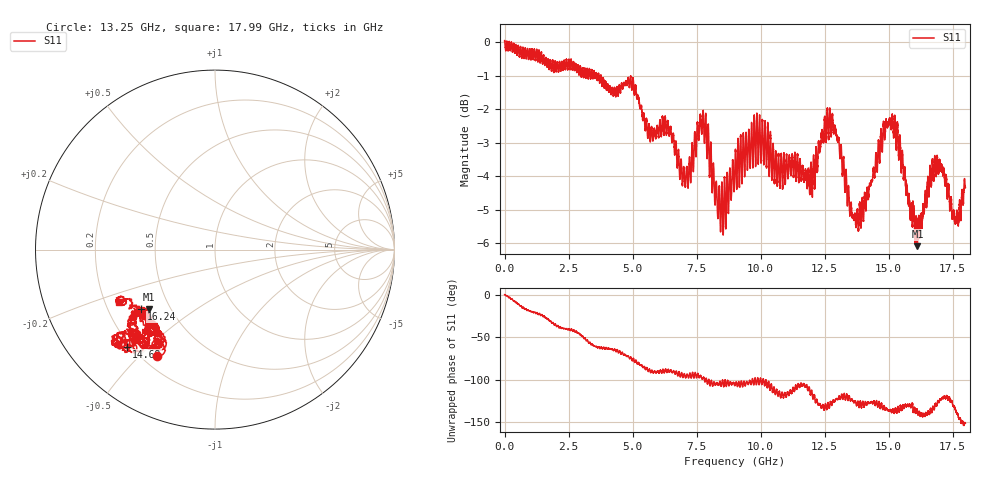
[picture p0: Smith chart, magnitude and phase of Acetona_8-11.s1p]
!Keysight Technologies N9917A: A.12.46
!Date: Wednesday, 08 November 2023 22:12:23
!TimeZone: (UTC-03:00) Buenos Aires!Model: N9917A
!Serial: MY56072049
!GPS Latitude:
!GPS Longitude:
!GPS TimeStamp: 0001-01-01 00:00:00Z
!GPS Seconds Since Last Read: 0
!CHECKSUM:1499144359
!Correction: S11(ON U)
!S1P File: Measurement: S11:
# Hz S RI R 50
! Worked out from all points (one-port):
!   10001 points, 30 kHz to 18 GHz, reference 50 ohm
!   lowest |S11| = -6.1 dB at 16.12 GHz (marker M1), VSWR 2.97, Z = 19 - j16.8 ohm
!   |S11| at or under -10 dB: nowhere
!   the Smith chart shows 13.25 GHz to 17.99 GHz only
!   S11 on the Smith chart (normalised r, x): 13.25 GHz: 0.26, -0.56; 14.69 GHz: 0.19, -0.43; 16.24 GHz: 0.34, -0.32; 17.99 GHz: 0.26, -0.24
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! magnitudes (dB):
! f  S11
! 30 kHz  0.0
! 2.25 GHz  -0.6
! 4.5 GHz  -1.4
! 4.966 GHz  -1.4
! 5.639 GHz  -2.5
! 6.327 GHz  -2.7
! 6.75 GHz  -3.7
! 7.11 GHz  -3.8
! 7.792 GHz  -2.9
! 8.483 GHz  -4.2
! 9 GHz  -3.5
! 9.913 GHz  -3.6
! 10.7 GHz  -3.4
! 11.25 GHz  -3.5
! 11.96 GHz  -3.6
! 12.66 GHz  -2.8
! 13.25 GHz  -3.4
! 13.5 GHz  -5.1
! 13.87 GHz  -4.8
! 14.69 GHz  -2.7
! 15.19 GHz  -2.8
! 15.75 GHz  -4.7
! 16.12 GHz  -6.1
! 16.24 GHz  -5.5
! 16.86 GHz  -3.9
! 17.56 GHz  -5.1
! 17.99 GHz  -4.3
! 18 GHz  -4.3
